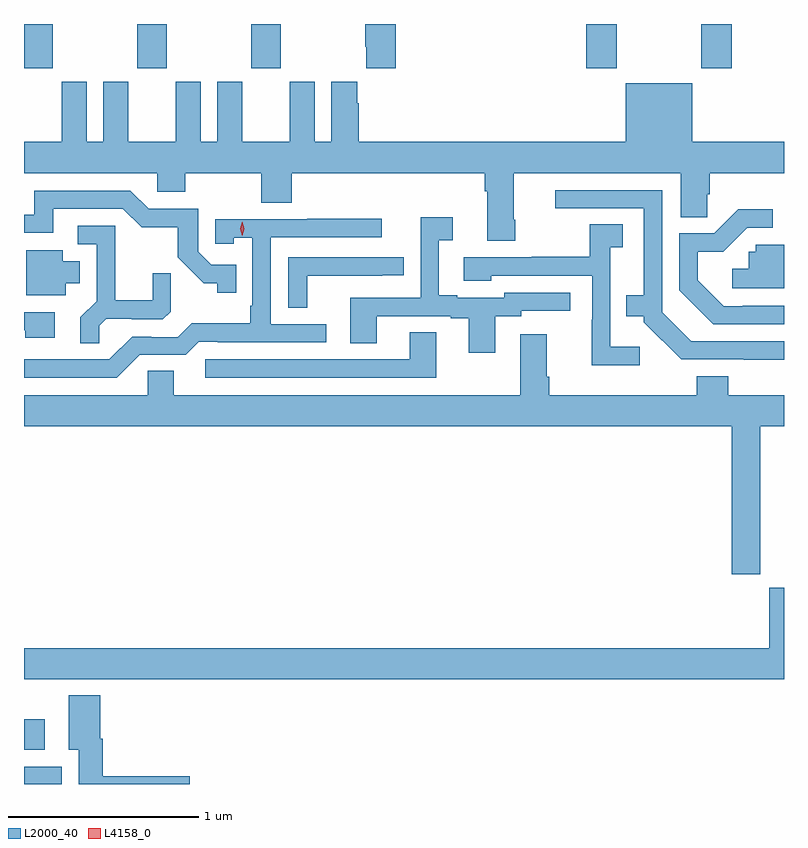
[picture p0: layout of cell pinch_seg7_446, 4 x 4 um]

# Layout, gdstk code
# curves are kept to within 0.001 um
import gdstk
lib = gdstk.Library(unit=1e-6, precision=1e-09)
def R(c, l, rs):  # rectangles x0, y0, x1, y1
    for r in rs: c.add(gdstk.rectangle(r[:2], r[2:], *l))
def P(c, l, *ps):  # polygons
    for p in ps: c.add(gdstk.Polygon(p, *l))
L2000_40 = (2000, 40)
L4158_0 = (4158, 0)

pinch_seg7_446 = lib.new_cell('pinch_seg7_446')
R(pinch_seg7_446, L2000_40, [(292.066,1058.673,292.264,1058.764), (292.066,1058.853,292.174,1059.013), (292.066,1062.441,292.218,1062.673), (292.663,1062.441,292.818,1062.673), (293.263,1062.441,293.418,1062.673), (295.025,1062.441,295.185,1062.673), (295.63,1062.441,295.79,1062.673)])
P(pinch_seg7_446, L2000_40, [(294.023,1062.673),(293.863,1062.673),(293.863,1062.553),(293.867,1062.553),(293.867,1062.441),(294.023,1062.441)],
  [(294.651,1061.644),(294.643,1061.644),(294.643,1061.888),(295.523,1061.888),(295.523,1061.656),(295.661,1061.656),(295.661,1061.778),(295.676,1061.778),(295.676,1061.888),(296.066,1061.888),(296.066,1062.052),(295.582,1062.052),(295.582,1062.361),(295.232,1062.361),(295.232,1062.052),(293.828,1062.052),(293.828,1062.257),(293.821,1062.257),(293.821,1062.37),(293.684,1062.37),(293.684,1062.052),(293.596,1062.052),(293.596,1062.37),(293.465,1062.37),(293.465,1062.052),(293.215,1062.052),(293.215,1062.37),(293.084,1062.37),(293.084,1062.052),(292.996,1062.052),(292.996,1062.37),(292.865,1062.37),(292.865,1062.052),(292.615,1062.052),(292.615,1062.37),(292.484,1062.37),(292.484,1062.052),(292.396,1062.052),(292.396,1062.37),(292.265,1062.37),(292.265,1062.052),(292.066,1062.052),(292.066,1061.888),(292.767,1061.888),(292.767,1061.79),(292.914,1061.79),(292.914,1061.888),(293.314,1061.888),(293.314,1061.731),(293.474,1061.731),(293.474,1061.888),(294.491,1061.888),(294.491,1061.792),(294.503,1061.792),(294.503,1061.532),(294.651,1061.532)],
  [(296.066,1061.004),(295.578,1061.004),(295.425,1061.157),(295.425,1061.799),(294.861,1061.799),(294.861,1061.703),(295.328,1061.703),(295.328,1061.245),(295.237,1061.245),(295.237,1061.135),(295.329,1061.135),(295.329,1061.103),(295.524,1060.908),(296.066,1060.907)],
  [(293.183,1061.406),(293.052,1061.406),(292.983,1061.475),(292.983,1061.7),(292.722,1061.7),(292.626,1061.796),(292.121,1061.796),(292.121,1061.67),(292.066,1061.67),(292.066,1061.574),(292.219,1061.574),(292.219,1061.7),(292.587,1061.7),(292.686,1061.602),(292.875,1061.602),(292.875,1061.446),(293.012,1061.309),(293.082,1061.309),(293.082,1061.259),(293.183,1061.259)],
  [(296.066,1061.19),(295.849,1061.19),(295.849,1061.187),(295.749,1061.187),(295.612,1061.324),(295.612,1061.474),(295.745,1061.474),(295.872,1061.601),(296.008,1061.601),(296.008,1061.699),(295.826,1061.699),(295.698,1061.571),(295.515,1061.571),(295.515,1061.273),(295.694,1061.094),(296.066,1061.094)],
  [(294.547,1061.136),(294.684,1061.136),(294.684,1061.163),(294.94,1061.163),(294.94,1061.259),(294.594,1061.259),(294.594,1061.232),(294.346,1061.232),(294.346,1061.245),(294.25,1061.245),(294.25,1061.536),(294.322,1061.536),(294.322,1061.656),(294.153,1061.656),(294.153,1061.232),(293.783,1061.232),(293.783,1060.993),(293.923,1060.993),(293.923,1061.136),(294.311,1061.136),(294.311,1061.124),(294.407,1061.124),(294.407,1060.944),(294.547,1060.944)],
  [(292.674,1060.932),(292.917,1060.932),(292.986,1061.001),(293.086,1061.001),(293.086,1060.998),(293.656,1060.998),(293.656,1061.094),(293.364,1061.094),(293.364,1061.55),(293.95,1061.55),(293.95,1061.649),(293.557,1061.649),(293.557,1061.646),(293.073,1061.646),(293.073,1061.517),(293.169,1061.517),(293.169,1061.549),(293.268,1061.549),(293.268,1061.191),(293.256,1061.191),(293.256,1061.098),(292.948,1061.098),(292.875,1061.025),(292.736,1061.025),(292.736,1061.028),(292.635,1061.028),(292.515,1060.908),(292.066,1060.908),(292.066,1060.812),(292.554,1060.812)],
  [(295.306,1060.975),(295.152,1060.975),(295.152,1061.497),(295.216,1061.497),(295.216,1061.618),(295.044,1061.618),(295.044,1061.448),(294.739,1061.448),(294.739,1061.445),(294.381,1061.445),(294.381,1061.321),(294.525,1061.321),(294.525,1061.349),(295.056,1061.349),(295.056,1061.117),(295.054,1061.117),(295.054,1060.877),(295.306,1060.877)],
  [(292.461,1061.084),(292.498,1061.121),(292.632,1061.121),(292.632,1061.118),(292.797,1061.118),(292.838,1061.159),(292.838,1061.361),(292.744,1061.361),(292.744,1061.218),(292.547,1061.218),(292.547,1061.61),(292.35,1061.61),(292.35,1061.514),(292.449,1061.514),(292.449,1061.215),(292.363,1061.129),(292.363,1060.993),(292.461,1060.993)],
  [(296.066,1061.511),(295.917,1061.511),(295.917,1061.475),(295.881,1061.475),(295.881,1061.386),(295.794,1061.386),(295.794,1061.283),(296.066,1061.283)],
  [(292.285,1061.309),(292.36,1061.309),(292.36,1061.425),(292.27,1061.425),(292.27,1061.482),(292.079,1061.482),(292.079,1061.246),(292.285,1061.246)],
  [(293.556,1061.349),(293.951,1061.349),(293.951,1061.35),(294.064,1061.35),(294.064,1061.445),(293.457,1061.445),(293.457,1061.179),(293.556,1061.179)],
  [(292.228,1061.157),(292.066,1061.157),(292.066,1061.061),(292.072,1061.061),(292.072,1061.021),(292.228,1061.021)],
  [(294.235,1061.051),(294.095,1061.051),(294.095,1060.908),(293.019,1060.908),(293.019,1060.812),(294.235,1060.812)],
  [(295.942,1060.556),(296.066,1060.556),(296.066,1060.72),(295.772,1060.72),(295.772,1060.819),(295.607,1060.819),(295.607,1060.72),(294.83,1060.72),(294.83,1060.816),(294.817,1060.816),(294.817,1061.041),(294.677,1061.041),(294.677,1060.72),(292.855,1060.72),(292.855,1060.847),(292.716,1060.847),(292.716,1060.72),(292.066,1060.72),(292.066,1060.556),(295.79,1060.556),(295.79,1059.777),(295.942,1059.777)],
  [(296.066,1059.705),(295.988,1059.705),(295.988,1059.388),(292.066,1059.388),(292.066,1059.224),(296.066,1059.224)],
  [(292.939,1058.714),(292.481,1058.714),(292.481,1058.912),(292.468,1058.912),(292.468,1059.139),(292.301,1059.139),(292.301,1058.852),(292.355,1058.852),(292.355,1058.673),(292.939,1058.673)])
P(pinch_seg7_446, L4158_0, [(293.215,1061.559),(293.215,1061.559),(293.205,1061.595),(293.215,1061.631),(293.215,1061.631),(293.215,1061.631),(293.225,1061.595),(293.215,1061.559)])

lib.write_gds('pinch_seg7_446.gds')
